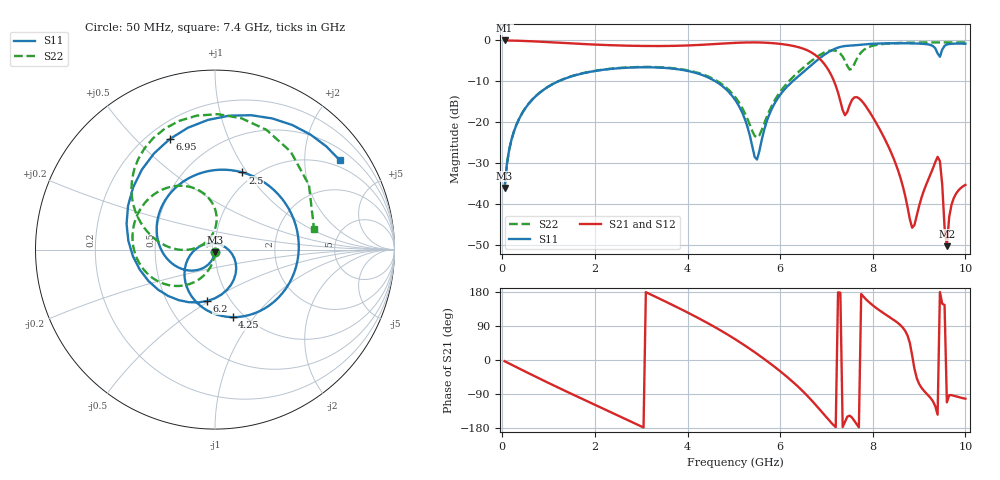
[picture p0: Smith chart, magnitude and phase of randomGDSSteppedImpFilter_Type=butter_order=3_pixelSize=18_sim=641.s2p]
! freq	dB(S11)	phase(S11)	dB(S12)	phase(S12)
!  dB(S21)	phase(S21)	dB(S22)	phase(S22)
!S-par simulation data
#  GHz  S  DB  R 50
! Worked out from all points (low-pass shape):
!   200 points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, 50 MHz to 10 GHz, reference 50 ohm
!   highest |S21| = -0.01 dB at 50 MHz (marker M1); lowest = -50.3 dB at 9.6 GHz (marker M2)
!   |S21| within 3 dB of the highest: start of sweep to 6.684 GHz
!   lowest |S11| = -36.1 dB at 50 MHz (marker M3), VSWR 1.03, Z = 49.9 - j1.56 ohm
!   |S11| at or under -10 dB: start of sweep to 1.213 GHz; 4.603 GHz to 6.27 GHz (1.667 GHz wide, 30.7 % of centre)
!   |S22| runs from -36.1 to -0.5 dB; largest |S21 - S12| = 0
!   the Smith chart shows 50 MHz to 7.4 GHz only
!   S11 on the Smith chart (normalised r, x): 50 MHz: 1.00, -0.03; 2.5 GHz: 0.88, +0.95; 4.25 GHz: 0.89, -0.79; 6.2 GHz: 0.78, -0.49; 6.95 GHz: 0.29, +0.63; 7.4 GHz: 0.79, +2.91
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0.05  -36.11 -93.5  -0.01 -3.1  -0.01 -3.1  -36.12 -91.8
0.2  -24.24 -106.2  -0.04 -12.4  -0.04 -12.4  -24.21 -98.9
0.5  -16.56 -130.3  -0.14 -30.7  -0.14 -30.7  -16.52 -112.2
1.75  -8.02 131.0  -0.88 -104.0  -0.88 -104.0  -7.98 -160.2
2.5  -6.81 70.4  -1.23 -146.6  -1.23 -146.6  -6.76 175.5
3.4  -6.65 -3.9  -1.37 161.6  -1.37 161.6  -6.56 147.0
4.25  -8.20 -75.5  -1.11 109.6  -1.11 109.6  -8.02 116.6
5.05  -14.92 -154.1  -0.59 53.2  -0.59 53.2  -14.19 87.8
5.5  -29.15 68.8  -0.49 16.3  -0.49 16.3  -23.79 134.1
6.2  -10.74 -98.8  -1.17 -49.9  -1.17 -49.9  -9.87 171.7
6.7  -5.80 163.8  -3.11 -109.3  -3.11 -109.3  -4.79 144.0
6.95  -3.54 112.3  -5.71 -144.1  -5.71 -144.1  -2.98 119.1
7.2  -1.97 66.4  -11.05 -177.2  -11.05 -177.2  -2.54 78.7
7.4  -1.36 35.7  -18.30 -163.0  -18.30 -163.0  -4.98 11.8
7.55  -1.24 17.2  -14.58 -151.8  -14.58 -151.8  -6.91 -94.6
7.75  -1.04 -2.7  -14.66 174.3  -14.66 174.3  -2.91 173.4
8.35  -0.71 -47.8  -26.25 114.3  -26.25 114.3  -0.75 99.1
8.85  -0.72 -75.6  -45.84 12.4  -45.84 12.4  -0.54 69.6
9.4  -3.18 -105.9  -28.50 -144.3  -28.50 -144.3  -0.51 43.6
9.6  -1.00 -97.5  -50.35 -111.7  -50.35 -111.7  -0.50 35.2
9.7  -0.82 -104.1  -40.23 -92.7  -40.23 -92.7  -0.49 30.9
10  -0.80 -118.2  -35.34 -102.0  -35.34 -102.0  -0.51 18.6
